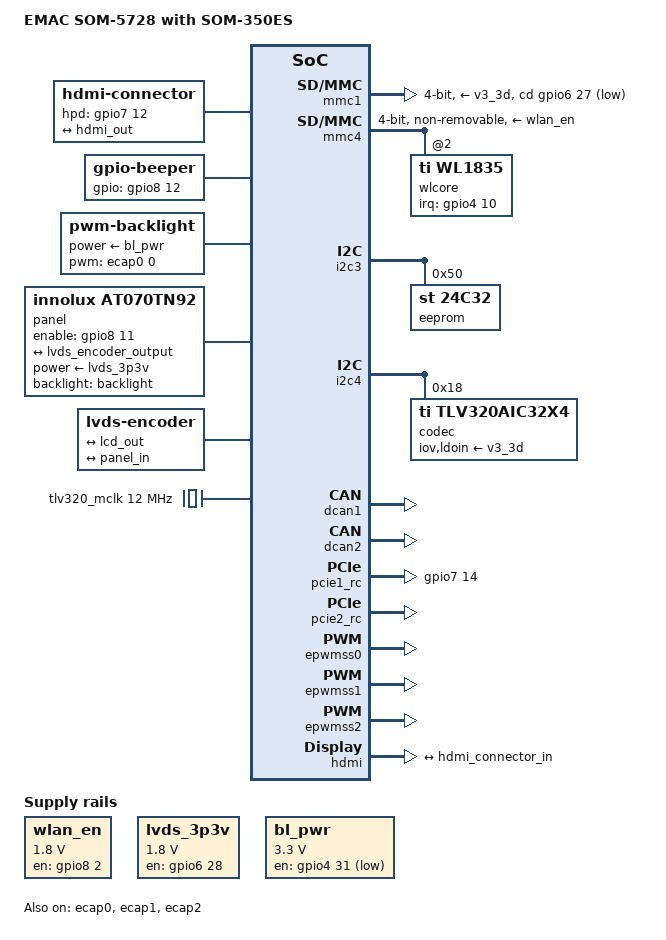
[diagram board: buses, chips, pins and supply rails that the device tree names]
/*
 * Copyright (C) 2014-2016 Texas Instruments Incorporated - http://www.ti.com/
 *
 * This program is free software; you can redistribute it and/or modify
 * it under the terms of the GNU General Public License version 2 as
 * published by the Free Software Foundation.
 */

 
// SPI ADD for the 5228
// SPI1 -> MCP23S18
// SPI3 -> DAC80501
// SPI3 -> MAX11161
 
#include "som-5728.dtsi"

/ {
	model = "EMAC SOM-5728 with SOM-350ES";
	
	aliases {
		display0 = &panel;
		display1 = &hdmi;
	};
	
	//regulators {
	wlan_en: wlan_en_reg  {
		compatible = "regulator-fixed";
	//	reg = <3>;
		regulator-name = "wlan-en-regulator";
		regulator-min-microvolt = <1800000>;
		regulator-max-microvolt = <1800000>;
		gpio = <&gpio8 2 GPIO_ACTIVE_HIGH>;

		startup-delay-us = <70000>;
		enable-active-high;
	};

	lvds_3p3v: lvds_3p3v_reg {
		compatible = "regulator-fixed";
	//	reg = <4>;
		regulator-name = "LVDS 3P3V";
		regulator-min-microvolt = <1800000>;
		regulator-max-microvolt = <1800000>;
		regulator-boot-on;
		enable-active-high;
		gpio = <&gpio6 28 GPIO_ACTIVE_HIGH>;
		};

	bl_pwr: bl_pwr_reg {
		compatible = "regulator-fixed";
	//	reg = <5>;
		regulator-name = "LVDS ABL";
		regulator-min-microvolt = <3300000>;
		regulator-max-microvolt = <3300000>;
		regulator-boot-on;
		gpio = <&gpio4 31 GPIO_ACTIVE_LOW>;
	};
	//};
	
	hdmi_conn: connector {
		compatible = "hdmi-connector";
		label = "hdmi";

		type = "a";
	};

	beeper: beeper {
		compatible = "gpio-beeper";
		gpios = <&gpio8 12 GPIO_ACTIVE_HIGH>;
	};

	backlight: backlight {
		compatible = "pwm-backlight";
		pwms = <&ecap0 0 50000 0>;
		//enable-gpios = <&gpio6 28 GPIO_ACTIVE_HIGH>;
		power-supply = <&bl_pwr>;
		brightness-levels = <0 10 20 30 40 50 60 70 80 90 100>;
		default-brightness-level = <9>;
	};
	
	panel: panel {
		compatible = "innolux,at070tn92", "simple-panel";
		backlight = <&backlight>;
		power-supply = <&lvds_3p3v>;

		enable-gpios = <&gpio8 11 GPIO_ACTIVE_HIGH>;
		
		port {
			panel_in: endpoint {
				remote-endpoint = <&lvds_encoder_output>;
			};
		};
	};
	
	lvds-encoder {
		compatible = "lvds-encoder";

		ports {
			#address-cells = <1>;
			#size-cells = <0>;

			port@0 {
				reg = <0>;

				lvds_encoder_input: endpoint {
					remote-endpoint = <&lcd_out>;
				};
			};

			port@1 {
				reg = <1>;

				lvds_encoder_output: endpoint {
					remote-endpoint = <&panel_in>;
				};
			};
		};
	};
	
	clocks {
		#address-cells = <1>;
		#size-cells = <0>;

		tlv320_mclk: tlv320_mclk {
			#clock-cells = <0>;
			compatible = "fixed-clock";
			clock-frequency = <12000000>;
			clock-output-names = "mclk";
		};
	};
	
	sound {
		compatible = "simple-audio-card";
		simple-audio-card,format = "i2s";
		simple-audio-card,name = "tlv320aic32x4";
		simple-audio-card,bitclock-master = <&codec_master>;
		simple-audio-card,frame-master = <&codec_master>;
		simple-audio-card,bitclock-inversion;
		simple-audio-card,widgets =
			"Microphone", "Microphone Jack",
			"Headphone", "Headphone Jack";
		simple-audio-card,routing =
			"Headphone Jack", "HPL",
			"Headphone Jack", "HPR",
			"IN1_L", "Microphone Jack",
			"IN1_R", "Microphone Jack",
			"Microphone Jack", "Mic Bias";

		cpu_master: simple-audio-card,cpu {
			sound-dai = <&mcasp8>;
		};

		codec_master: simple-audio-card,codec {
			sound-dai = <&codec>;
			clocks = <&tlv320_mclk>;
		};
	};
};

//&tpd12s015 {
//	gpios = <&gpio7 10 GPIO_ACTIVE_HIGH>,	/* gpio7_10, CT CP HPD */
//		<&gpio6 28 GPIO_ACTIVE_HIGH>,	/* gpio6_28, LS OE */
//		<&gpio7 12 GPIO_ACTIVE_HIGH>;	/* gpio7_12/sp1_cs2, HPD */
//};

&dra7_pmx_core {
	dcan1_pins_default: dcan1_pins_default {
		pinctrl-single,pins = <
			DRA7XX_CORE_IOPAD(0x37d0, PIN_OUTPUT_PULLUP | MUX_MODE0)	/* dcan1_tx */
			DRA7XX_CORE_IOPAD(0x37d4, PIN_INPUT_PULLUP | MUX_MODE0)		/* dcan1_rx */
		>;
	};

	dcan1_pins_sleep: dcan1_pins_sleep {
		pinctrl-single,pins = <
			DRA7XX_CORE_IOPAD(0x37d0, MUX_MODE15 | PULL_UP)	/* dcan1_tx.off */
			DRA7XX_CORE_IOPAD(0x37d4, MUX_MODE15 | PULL_UP)	/* dcan1_rx.off */
		>;
	};
	
	lcd_pins_default: lcd_pins_default {
		pinctrl-single,pins = <
			DRA7XX_CORE_IOPAD(0x3564, PIN_OUTPUT | MUX_MODE14)      /* vin2a_vsync0.gpio4_0 */
		>;
	};
	
	wlan_pins_default: wlan_pins_default {
		pinctrl-single,pins = <
			DRA7XX_CORE_IOPAD(0x358c, PIN_INPUT | MUX_MODE14)      /* vin2a_d9.gpio4_10 */
			DRA7XX_CORE_IOPAD(0x35e4, PIN_OUTPUT_PULLDOWN | MUX_MODE14)      /* vout1_d2.gpio8_2 */
		>;
	};
};


// carrier
&mmc1 {
	status = "okay";

	bus-width = <4>;
	pinctrl-names = "default", "hs";
	pinctrl-0 = <&mmc1_pins_default>;
	pinctrl-1 = <&mmc1_pins_hs>;

	vmmc-supply = <&v3_3d>;
	vqmmc-supply = <&ldo1_reg>;
	cd-gpios = <&gpio6 27 GPIO_ACTIVE_LOW>;
	//disable-wp;
	//wp-gpios = <&gpio6 28 GPIO_ACTIVE_HIGH>;
	max-frequency = <48000000>;
	//no-1-8-v;
};


// carrier
&mmc4 {
	status = "okay";
	
	pinctrl-names = "default";
	pinctrl-0 = <&mmc4_pins_sdr25 &wlan_pins_default>;
	//pinctrl-1 = <&mmc4_pins_default &mmc4_iodelay_ds_rev20_conf &wlan_pins_default>;
	//pinctrl-2 = <&mmc4_pins_hs &mmc4_iodelay_sdr12_hs_sdr25_rev11_conf>;
	//pinctrl-3 = <&mmc4_pins_hs &mmc4_iodelay_sdr12_hs_sdr25_rev20_conf>;
	//pinctrl-4 = <&mmc4_pins_sdr12 &mmc4_iodelay_sdr12_hs_sdr25_rev11_conf>;
	//pinctrl-5 = <&mmc4_pins_sdr12 &mmc4_iodelay_sdr12_hs_sdr25_rev20_conf>;
	//pinctrl-6 = <&mmc4_pins_sdr25 &mmc4_iodelay_sdr12_hs_sdr25_rev11_conf>;
	//pinctrl-7 = <&mmc4_pins_sdr25 &mmc4_iodelay_sdr12_hs_sdr25_rev20_conf>;

	vqmmc-supply = <&reg_1p8v>;
	vmmc-supply = <&wlan_en>;
	bus-width = <4>;
	cap-power-off-card;
	//keep-power-in-suspend;
	//enable-sdio-wakeup;
	//ti,needs-special-hs-handling;
	ti,needs-special-reset;
	non-removable;
	ti,non-removable;
	max-frequency = <1000000>;

	#address-cells = <1>;
	#size-cells = <0>;
	wlcore: wlcore@2 {
		compatible = "ti,wl1835";
		reg = <0x2>;
		interrupt-parent = <&gpio4>;
		interrupts = <10 IRQ_TYPE_LEVEL_HIGH>;
		//interrupts-extended = <&gpio4 10 IRQ_TYPE_EDGE_RISING>;
		//ref-clock-frequency = <32768>;
	};
};


// remove for the 5228  KEEP FOR 350
// fix FOR THE 5228 UCBC MUX 
// hd3SS3220 -> TI
&i2c3 {
	eeprom@50 {
		compatible = "st,24c32";
		reg = <0x50>;
		pagesize = <32>;
	};
	
	// fixme 
	// add util header
	// sata socket
	// dsi connector
};



&i2c4 {
    // audio 350 only
	codec: tlv320aic32x4@18{
		#sound-dai-cells = <0>;
		compatible = "ti,tlv320aic32x4";
		reg = <0x18>;
		clocks = <&tlv320_mclk>;
		clock-names = "mclk";
		iov-supply = <&v3_3d>;
		ldoin-supply = <&v3_3d>;
		input-use = <1 1 0 0 0 0>;
		cmode = <0x11 0>;
		status = "okay";
	};
	
	// fixme 350 only
	// add util header
	// pcie socket
	// csi connector	
	
	
	// FIXME 5228  add for the 
	// add for the bus4 of the 5228  
	// temp sensor(si , si7055-a20)
	// 
	
};

// one two one on both the 350 and the
&dcan1 {
	status = "okay";
	pinctrl-names = "default", "sleep", "active";
	pinctrl-0 = <&dcan1_pins_sleep>;
	pinctrl-1 = <&dcan1_pins_sleep>;
	pinctrl-2 = <&dcan1_pins_default>;
};
// 5228 disabled ?  
&dcan2 {
	status = "okay";
};

// 350 keep but remove for the 5228
&pcie1_rc {
	status = "ok";
	gpios = <&gpio7 14 GPIO_ACTIVE_HIGH>;
};

// DISABLE 5228 and 350
&pcie2_rc {
	status = "ok";
};


// MOVE TO THE SOM
&dss {
	ports {
		#address-cells = <1>;
		#size-cells = <0>;
		port@2 {
			reg = <2>;
			lcd_out: endpoint {
				remote-endpoint = <&lvds_encoder_input>;
				data-lines = <18>;
			};
		};
	};
};

/*&lcd0 {
	//pinctrl-names = "default";
	//pinctrl-0 = <&lcd_pins_default>;

	//enable-gpios = <&pca9555 14 GPIO_ACTIVE_HIGH
	//		&gpio4 0 GPIO_ACTIVE_HIGH>;

	port {
		lcd_in: endpoint {
			remote-endpoint = <&dpi_lcd_out>;
			data-lines = <18>;
		};
	};
};*/


&ecap0 {
	status = "okay";
};

&epwmss0 {
	status = "okay";
};

&ecap1 {
	status = "okay";
};

&epwmss1 {
	status = "okay";
};

&ecap2 {
	status = "okay";
};

&epwmss2 {
	status = "okay";
};




&hdmi {
	status = "ok";
	vdda-supply = <&ldo4_reg>;

	port {
			hdmi_out: endpoint {
				remote-endpoint = <&hdmi_connector_in>;
				//lanes = <1 0 3 2 5 4 7 6>;
			};
	};
};

&hdmi_conn {
	pinctrl-names = "default";
	pinctrl-0 = <&hdmi_conn_pins>;

	hpd-gpios = <&gpio7 12 GPIO_ACTIVE_HIGH>;
	
	port {
			hdmi_connector_in: endpoint {
				remote-endpoint = <&hdmi_out>;
			};
	};
};
